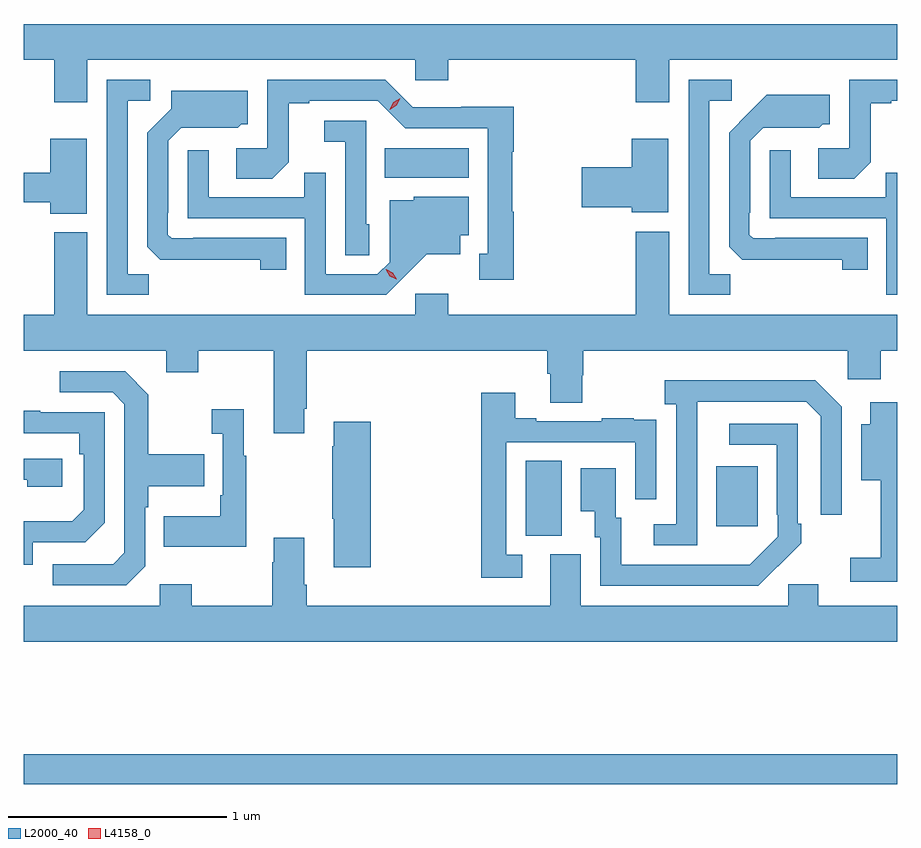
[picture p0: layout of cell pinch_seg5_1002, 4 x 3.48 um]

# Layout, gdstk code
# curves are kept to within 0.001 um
import gdstk
lib = gdstk.Library(unit=1e-6, precision=1e-09)
def R(c, l, rs):  # rectangles x0, y0, x1, y1
    for r in rs: c.add(gdstk.rectangle(r[:2], r[2:], *l))
def P(c, l, *ps):  # polygons
    for p in ps: c.add(gdstk.Polygon(p, *l))
L2000_40 = (2000, 40)
L4158_0 = (4158, 0)

pinch_seg5_1002 = lib.new_cell('pinch_seg5_1002')
R(pinch_seg5_1002, L2000_40, [(733.561,840.124,737.561,840.26), (735.86,841.261,736.024,841.604), (736.733,841.305,736.921,841.579), (735.214,842.9,735.598,843.034)])
P(pinch_seg5_1002, L2000_40, [(733.852,843.44),(735.354,843.44),(735.354,843.347),(735.506,843.347),(735.506,843.44),(736.364,843.44),(736.364,843.246),(736.516,843.246),(736.516,843.44),(737.561,843.44),(737.561,843.604),(733.561,843.604),(733.561,843.44),(733.7,843.44),(733.7,843.246),(733.852,843.246)],
  [(734.133,842.459),(734.037,842.459),(734.037,843.252),(734.14,843.252),(734.14,843.348),(733.941,843.348),(733.941,842.364),(734.133,842.364)],
  [(735.805,842.745),(735.797,842.745),(735.797,843.019),(735.805,843.019),(735.805,843.224),(735.564,843.224),(735.564,843.222),(735.342,843.222),(735.216,843.348),(734.676,843.348),(734.676,843.036),(734.535,843.036),(734.535,842.896),(734.699,842.896),(734.775,842.972),(734.775,843.24),(734.869,843.24),(734.869,843.252),(735.183,843.252),(735.309,843.126),(735.686,843.126),(735.686,842.553),(735.647,842.553),(735.647,842.433),(735.805,842.433)],
  [(737.439,842.972),(737.439,843.24),(737.533,843.24),(737.533,843.252),(737.561,843.252),(737.561,843.348),(737.34,843.348),(737.34,843.036),(737.199,843.036),(737.199,842.896),(737.363,842.896)],
  [(736.797,842.459),(736.701,842.459),(736.701,843.252),(736.804,843.252),(736.804,843.348),(736.605,843.348),(736.605,842.364),(736.797,842.364)],
  [(734.762,842.625),(734.338,842.625),(734.338,842.622),(734.238,842.622),(734.22,842.64),(734.22,842.74),(734.223,842.74),(734.223,843.069),(734.283,843.129),(734.54,843.128),(734.556,843.144),(734.587,843.144),(734.587,843.298),(734.237,843.298),(734.237,843.216),(734.127,843.106),(734.127,842.584),(734.186,842.525),(734.644,842.524),(734.644,842.478),(734.762,842.478)],
  [(737.426,842.625),(737.002,842.625),(737.002,842.622),(736.902,842.622),(736.884,842.64),(736.884,842.74),(736.887,842.74),(736.887,843.069),(736.947,843.129),(737.204,843.128),(737.22,843.144),(737.251,843.144),(737.251,843.28),(736.963,843.28),(736.791,843.106),(736.791,842.584),(736.85,842.525),(737.308,842.524),(737.308,842.478),(737.426,842.478)],
  [(735.144,842.688),(735.129,842.688),(735.129,843.162),(734.937,843.162),(734.937,843.065),(735.033,843.065),(735.033,842.545),(735.144,842.545)],
  [(736.513,843.079),(736.346,843.079),(736.346,842.948),(736.116,842.948),(736.116,842.765),(736.346,842.765),(736.346,842.741),(736.513,842.741)],
  [(733.849,843.079),(733.682,843.079),(733.682,842.924),(733.561,842.924),(733.561,842.788),(733.682,842.788),(733.682,842.735),(733.849,842.735)],
  [(735.304,842.447),(735.407,842.549),(735.559,842.549),(735.559,842.636),(735.598,842.636),(735.598,842.812),(735.348,842.812),(735.348,842.797),(735.237,842.797),(735.237,842.514),(735.18,842.457),(734.943,842.457),(734.943,842.924),(734.845,842.924),(734.845,842.811),(734.409,842.811),(734.409,843.025),(734.313,843.025),(734.313,842.715),(734.847,842.715),(734.847,842.364),(735.22,842.364)],
  [(737.561,842.924),(737.509,842.924),(737.509,842.811),(737.073,842.811),(737.073,843.025),(736.977,843.025),(736.977,842.715),(737.511,842.715),(737.511,842.364),(737.561,842.364)],
  [(735.959,842.002),(735.971,842.002),(735.971,841.87),(736.119,841.87),(736.119,841.995),(736.124,841.995),(736.124,842.108),(737.334,842.108),(737.334,841.977),(737.486,841.977),(737.486,842.108),(737.561,842.108),(737.561,842.272),(736.516,842.272),(736.516,842.653),(736.364,842.653),(736.364,842.272),(735.506,842.272),(735.506,842.368),(735.354,842.368),(735.354,842.272),(733.852,842.272),(733.852,842.65),(733.7,842.65),(733.7,842.272),(733.561,842.272),(733.561,842.108),(734.213,842.108),(734.213,842.009),(734.361,842.009),(734.361,842.108),(734.705,842.108),(734.705,841.731),(734.845,841.731),(734.845,841.843),(734.858,841.843),(734.858,842.108),(735.959,842.108)],
  [(734.118,841.122),(734.118,841.391),(734.131,841.391),(734.131,841.487),(734.387,841.487),(734.387,841.635),(734.131,841.635),(734.131,841.907),(734.025,842.013),(733.725,842.013),(733.725,841.917),(733.968,841.917),(734.022,841.863),(734.022,841.182),(733.971,841.131),(733.695,841.131),(733.695,841.035),(734.031,841.035)],
  [(736.644,841.675),(736.645,841.875),(737.145,841.875),(737.211,841.809),(737.211,841.356),(737.307,841.356),(737.307,841.851),(737.186,841.972),(736.497,841.972),(736.497,841.862),(736.548,841.862),(736.548,841.314),(736.446,841.314),(736.446,841.218),(736.644,841.218)],
  [(735.844,841.173),(735.771,841.173),(735.771,841.689),(736.362,841.689),(736.362,841.428),(736.458,841.428),(736.458,841.682),(736.457,841.682),(736.457,841.791),(736.355,841.791),(736.355,841.798),(736.207,841.798),(736.207,841.785),(735.907,841.785),(735.907,841.798),(735.811,841.798),(735.811,841.915),(735.655,841.915),(735.655,841.068),(735.844,841.068)],
  [(737.561,841.873),(737.438,841.873),(737.438,841.771),(737.396,841.771),(737.396,841.514),(737.486,841.514),(737.486,841.159),(737.346,841.159),(737.346,841.05),(737.561,841.05)],
  [(734.581,841.627),(734.569,841.627),(734.569,841.84),(734.421,841.84),(734.421,841.727),(734.472,841.727),(734.472,841.447),(734.46,841.447),(734.46,841.351),(734.203,841.351),(734.203,841.211),(734.581,841.211)],
  [(733.602,841.23),(733.842,841.23),(733.932,841.32),(733.932,841.827),(733.637,841.827),(733.637,841.832),(733.561,841.832),(733.561,841.731),(733.816,841.731),(733.816,841.634),(733.836,841.634),(733.836,841.38),(733.783,841.327),(733.561,841.327),(733.561,841.128),(733.602,841.128)],
  [(735.149,841.783),(734.981,841.783),(734.981,841.67),(734.974,841.67),(734.974,841.339),(734.981,841.339),(734.981,841.116),(735.149,841.116)],
  [(737.015,841.123),(737.016,841.122),(737.121,841.227),(737.121,841.315),(737.106,841.315),(737.106,841.773),(736.791,841.773),(736.791,841.677),(737.01,841.677),(737.01,841.357),(737.013,841.357),(737.013,841.257),(736.885,841.129),(736.297,841.128),(736.297,841.344),(736.273,841.344),(736.273,841.57),(736.112,841.57),(736.112,841.373),(736.175,841.373),(736.175,841.254),(736.2,841.254),(736.2,841.032),(736.924,841.032)],
  [(733.738,841.614),(733.561,841.614),(733.561,841.518),(733.577,841.518),(733.577,841.484),(733.738,841.484)],
  [(737.561,840.94),(737.2,840.94),(737.2,841.038),(737.061,841.038),(737.061,840.94),(736.111,840.94),(736.111,841.176),(735.971,841.176),(735.971,840.94),(734.858,840.94),(734.858,841.036),(734.845,841.036),(734.845,841.252),(734.705,841.252),(734.705,841.139),(734.698,841.139),(734.698,840.94),(734.331,840.94),(734.331,841.039),(734.184,841.039),(734.184,840.94),(733.561,840.94),(733.561,840.776),(737.561,840.776)])
P(pinch_seg5_1002, L4158_0, [(735.236,843.212),(735.236,843.213),(735.254,843.245),(735.286,843.263),(735.286,843.263),(735.286,843.263),(735.268,843.231),(735.236,843.212)],
  [(735.267,842.435),(735.237,842.45),(735.219,842.48),(735.219,842.48),(735.22,842.48),(735.25,842.465),(735.268,842.435),(735.268,842.435)])

lib.write_gds('pinch_seg5_1002.gds')
